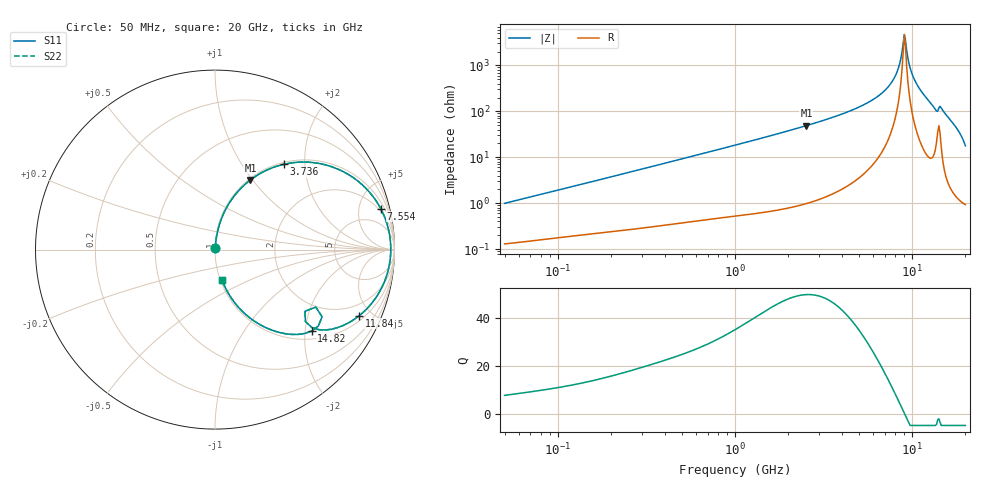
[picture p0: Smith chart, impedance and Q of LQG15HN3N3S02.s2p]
!Murata Part Number: LQG15HN3N3S02
!These Parameters are Measured in Series Mode Connection
!  o--[Z]--o
!Port1  Port2
!  o-------o
!Freq. Start=50[MHz] Stop=20[GHz], 401[Steps]
# Hz S RI R 50
!Freq.(Hz) S11(Real) S11(Imag) S21(Real) S21(Imag) S12(Real) S12(Imag) S22(Real) S22(Imag)
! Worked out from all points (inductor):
!   401 points, 50 MHz to 20 GHz, reference 50 ohm
!   read as one part in series: L = 3.1 nH near 51.52 MHz
!   highest Q = 49.7 at 2.531 GHz (marker M1), where L = 3.07 nH
!   self-resonance near 9.042 GHz
!   S11 on the Smith chart (normalised r, x): 50 MHz: 1.00, +0.02; 3.736 GHz: 1.03, +1.58; 7.554 GHz: 1.65, +7.89; 11.84 GHz: 1.26, -4.24; 14.82 GHz: 1.20, -2.16; 20 GHz: 1.02, -0.35
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5e7  0.00139 0.00982  0.9986 -0.00982  0.9986 -0.00982  0.00139 0.00982
1.364002e8  0.00269 0.0257  0.9973 -0.0257  0.9973 -0.0257  0.00269 0.0257
3.721004e8  0.00785 0.068  0.9922 -0.068  0.9922 -0.068  0.00785 0.068
1e9  0.0372 0.1754  0.9628 -0.1754  0.9628 -0.1754  0.0372 0.1754
2.531158e9  0.1975 0.3882  0.8025 -0.3882  0.8025 -0.3882  0.1975 0.3882
2.728004e9  0.2256 0.4081  0.7744 -0.4081  0.7744 -0.4081  0.2256 0.4081
3.736399e9  0.386 0.4759  0.614 -0.4759  0.614 -0.4759  0.386 0.4759
5.769027e9  0.7205 0.4313  0.2795 -0.4313  0.2795 -0.4313  0.7205 0.4313
7.442007e9  0.9148 0.2437  0.0852 -0.2437  0.0852 -0.2437  0.9148 0.2437
7.554318e9  0.9235 0.228  0.0765 -0.228  0.0765 -0.228  0.9235 0.228
8.264682e9  0.9641 0.1228  0.0359 -0.1228  0.0359 -0.1228  0.9641 0.1228
8.907419e9  0.9789 0.0234  0.0211 -0.0234  0.0211 -0.0234  0.9789 0.0234
9.041845e9  0.9794 0.00253  0.0206 -0.00253  0.0206 -0.00253  0.9794 0.00253
9.316812e9  0.9775 -0.0399  0.0225 0.0399  0.0225 0.0399  0.9775 -0.0399
9.745021e9  0.9674 -0.1048  0.0326 0.1048  0.0326 0.1048  0.9674 -0.1048
1.019291e10  0.9476 -0.17  0.0524 0.17  0.0524 0.17  0.9476 -0.17
1.183995e10  0.8041 -0.3679  0.1959 0.3679  0.1959 0.3679  0.8041 -0.3679
1.354865e10  0.5398 -0.4341  0.4602 0.4341  0.4602 0.4341  0.5398 -0.4341
1.417136e10  0.5616 -0.3203  0.4384 0.3203  0.4384 0.3203  0.5616 -0.3203
1.482269e10  0.5379 -0.4541  0.4621 0.4541  0.4621 0.4541  0.5379 -0.4541
1.747767e10  0.196 -0.382  0.804 0.382  0.804 0.382  0.196 -0.382
2e10  0.0389 -0.1689  0.9611 0.1689  0.9611 0.1689  0.0389 -0.1689
